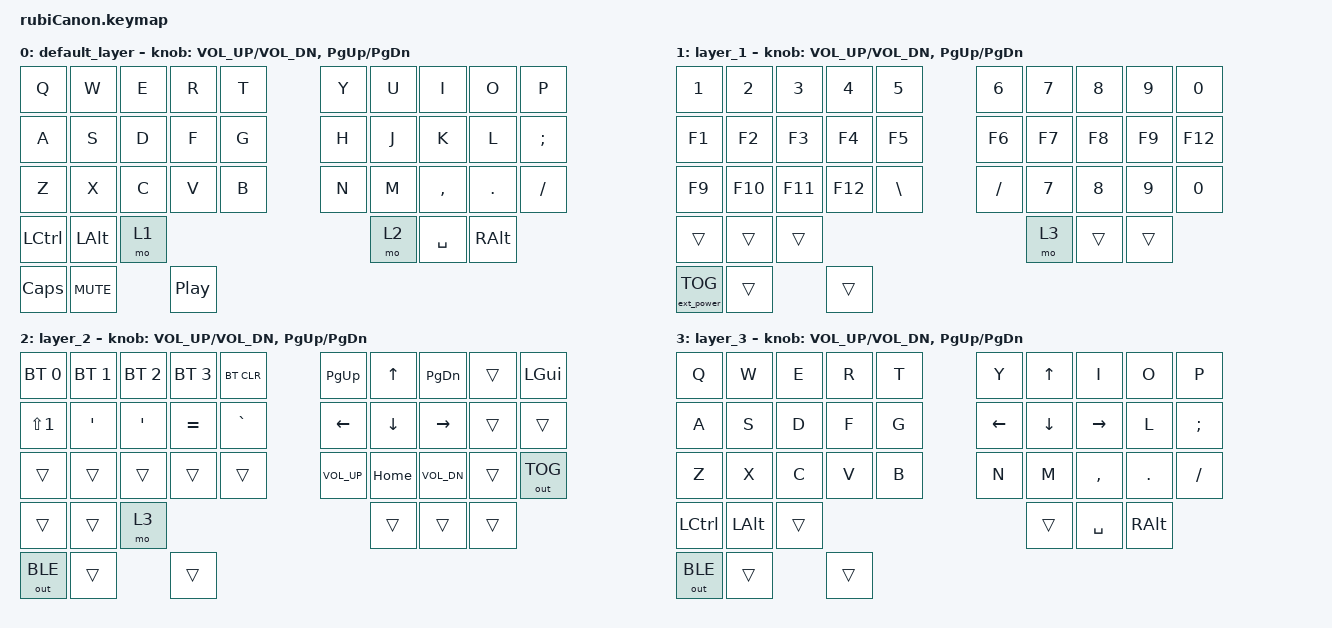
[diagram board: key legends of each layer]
#include <behaviors.dtsi>
#include <dt-bindings/zmk/keys.h>
#include <dt-bindings/zmk/bt.h>
#include <dt-bindings/zmk/outputs.h>
#include <dt-bindings/zmk/ext_power.h>
#include "combos.dtsi"

/ {
    keymap {
        compatible = "zmk,keymap";

        default_layer {
            bindings = <
                &kp Q &kp W &kp E &kp R &kp T        &kp Y &kp U &kp I &kp O &kp P
                &kp A &kp S &kp D &kp F &kp G        &kp H &kp J &kp K &kp L &kp SEMI
                &kp Z &kp X &kp C &kp V &kp B        &kp N &kp M &kp COMMA &kp DOT &kp SLASH
                &kp LCTRL &kp LALT &mo 1             &mo 2 &kp SPACE &kp RALT
                // fila 4 (direct inputs)
                &kp CAPS &kp C_MUTE &kp C_PLAY_PAUSE
            >;
            sensor-bindings = <&inc_dec_kp C_VOL_UP C_VOL_DN &inc_dec_kp PG_UP PG_DN>;
        };

        layer_1 {
            bindings = <
                &kp N1 &kp N2 &kp N3 &kp N4 &kp N5                 &kp N6 &kp N7 &kp N8 &kp N9 &kp N0
                &kp F1 &kp F2 &kp F3 &kp F4 &kp F5                 &kp F6 &kp F7 &kp F8 &kp F9 &kp F12
                // simbolos
                &kp F9 &kp F10 &kp F11 &kp F12 &kp BACKSLASH       &kp SLASH  &kp N7 &kp N8 &kp N9 &kp N0
                &trans &trans &trans                               &mo 3   &trans &trans
                // fila 4 (direct inputs)
                &ext_power EP_TOG &trans &trans  //toggle external power
            >;
            sensor-bindings = <&inc_dec_kp C_VOL_UP C_VOL_DN &inc_dec_kp PG_UP PG_DN>;
        };

        layer_2 {
            bindings = <//perfiles de configuracion
                &bt BT_SEL 0 &bt BT_SEL 1 &bt BT_SEL 2 &bt BT_SEL 3 &bt BT_CLR         &kp PG_UP &kp UP &kp PG_DN &trans &kp LEFT_GUI
                &kp LS(N1) &kp APOSTROPHE &kp APOSTROPHE &kp EQUAL &kp GRAVE           &kp LEFT &kp DOWN &kp RIGHT &trans &trans
                &trans &trans &trans &trans &trans                                     &kp C_VOL_UP &kp HOME &kp C_VOL_DN &trans &out OUT_TOG
                &trans &trans &mo 3                                                    &trans   &trans   &trans
                // fila 4 (direct inputs)
                &out OUT_BLE &trans &trans
            >;
            sensor-bindings = <&inc_dec_kp C_VOL_UP C_VOL_DN &inc_dec_kp PG_UP PG_DN>;
        };

        layer_3 {
            bindings = <
                &kp Q &kp W &kp E &kp R &kp T         &kp Y &kp UP &kp I &kp O &kp P
                &kp A &kp S &kp D &kp F &kp G         &kp LEFT &kp DOWN &kp RIGHT &kp L &kp SEMI
                &kp Z &kp X &kp C &kp V &kp B         &kp N &kp M &kp COMMA &kp DOT &kp SLASH
                &kp LCTRL &kp LALT &trans             &trans &kp SPACE &kp RALT
                // fila 4 (direct inputs)
                &out OUT_BLE &trans &trans
            >;
            sensor-bindings = <&inc_dec_kp C_VOL_UP C_VOL_DN &inc_dec_kp PG_UP PG_DN>;
        };
    };
};
